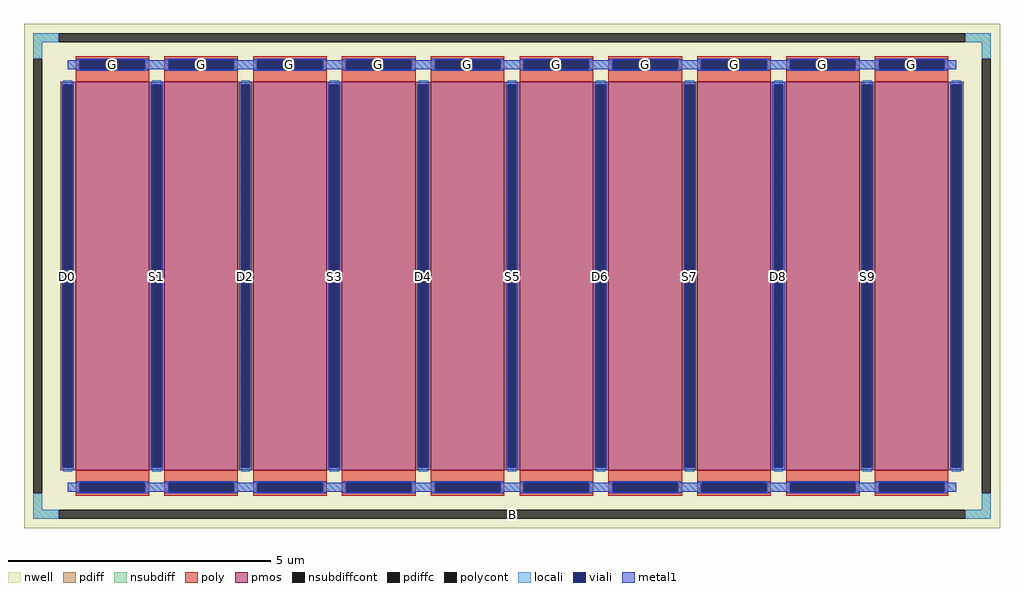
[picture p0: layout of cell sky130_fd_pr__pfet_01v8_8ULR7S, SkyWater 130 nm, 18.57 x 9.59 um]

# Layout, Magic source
magic
tech sky130A
magscale 1 2
<< nwell >>
rect -1857 -959 1857 959
<< pmos >>
rect -1661 -740 -1381 740
rect -1323 -740 -1043 740
rect -985 -740 -705 740
rect -647 -740 -367 740
rect -309 -740 -29 740
rect 29 -740 309 740
rect 367 -740 647 740
rect 705 -740 985 740
rect 1043 -740 1323 740
rect 1381 -740 1661 740
<< pdiff >>
rect -1719 728 -1661 740
rect -1719 -728 -1707 728
rect -1673 -728 -1661 728
rect -1719 -740 -1661 -728
rect -1381 728 -1323 740
rect -1381 -728 -1369 728
rect -1335 -728 -1323 728
rect -1381 -740 -1323 -728
rect -1043 728 -985 740
rect -1043 -728 -1031 728
rect -997 -728 -985 728
rect -1043 -740 -985 -728
rect -705 728 -647 740
rect -705 -728 -693 728
rect -659 -728 -647 728
rect -705 -740 -647 -728
rect -367 728 -309 740
rect -367 -728 -355 728
rect -321 -728 -309 728
rect -367 -740 -309 -728
rect -29 728 29 740
rect -29 -728 -17 728
rect 17 -728 29 728
rect -29 -740 29 -728
rect 309 728 367 740
rect 309 -728 321 728
rect 355 -728 367 728
rect 309 -740 367 -728
rect 647 728 705 740
rect 647 -728 659 728
rect 693 -728 705 728
rect 647 -740 705 -728
rect 985 728 1043 740
rect 985 -728 997 728
rect 1031 -728 1043 728
rect 985 -740 1043 -728
rect 1323 728 1381 740
rect 1323 -728 1335 728
rect 1369 -728 1381 728
rect 1323 -740 1381 -728
rect 1661 728 1719 740
rect 1661 -728 1673 728
rect 1707 -728 1719 728
rect 1661 -740 1719 -728
<< pdiffc >>
rect -1707 -728 -1673 728
rect -1369 -728 -1335 728
rect -1031 -728 -997 728
rect -693 -728 -659 728
rect -355 -728 -321 728
rect -17 -728 17 728
rect 321 -728 355 728
rect 659 -728 693 728
rect 997 -728 1031 728
rect 1335 -728 1369 728
rect 1673 -728 1707 728
<< nsubdiff >>
rect -1821 889 -1725 923
rect 1725 889 1821 923
rect -1821 827 -1787 889
rect 1787 827 1821 889
rect -1821 -889 -1787 -827
rect 1787 -889 1821 -827
rect -1821 -923 -1725 -889
rect 1725 -923 1821 -889
<< nsubdiffcont >>
rect -1725 889 1725 923
rect -1821 -827 -1787 827
rect 1787 -827 1821 827
rect -1725 -923 1725 -889
<< poly >>
rect -1661 821 -1381 837
rect -1661 787 -1645 821
rect -1397 787 -1381 821
rect -1661 740 -1381 787
rect -1323 821 -1043 837
rect -1323 787 -1307 821
rect -1059 787 -1043 821
rect -1323 740 -1043 787
rect -985 821 -705 837
rect -985 787 -969 821
rect -721 787 -705 821
rect -985 740 -705 787
rect -647 821 -367 837
rect -647 787 -631 821
rect -383 787 -367 821
rect -647 740 -367 787
rect -309 821 -29 837
rect -309 787 -293 821
rect -45 787 -29 821
rect -309 740 -29 787
rect 29 821 309 837
rect 29 787 45 821
rect 293 787 309 821
rect 29 740 309 787
rect 367 821 647 837
rect 367 787 383 821
rect 631 787 647 821
rect 367 740 647 787
rect 705 821 985 837
rect 705 787 721 821
rect 969 787 985 821
rect 705 740 985 787
rect 1043 821 1323 837
rect 1043 787 1059 821
rect 1307 787 1323 821
rect 1043 740 1323 787
rect 1381 821 1661 837
rect 1381 787 1397 821
rect 1645 787 1661 821
rect 1381 740 1661 787
rect -1661 -787 -1381 -740
rect -1661 -821 -1645 -787
rect -1397 -821 -1381 -787
rect -1661 -837 -1381 -821
rect -1323 -787 -1043 -740
rect -1323 -821 -1307 -787
rect -1059 -821 -1043 -787
rect -1323 -837 -1043 -821
rect -985 -787 -705 -740
rect -985 -821 -969 -787
rect -721 -821 -705 -787
rect -985 -837 -705 -821
rect -647 -787 -367 -740
rect -647 -821 -631 -787
rect -383 -821 -367 -787
rect -647 -837 -367 -821
rect -309 -787 -29 -740
rect -309 -821 -293 -787
rect -45 -821 -29 -787
rect -309 -837 -29 -821
rect 29 -787 309 -740
rect 29 -821 45 -787
rect 293 -821 309 -787
rect 29 -837 309 -821
rect 367 -787 647 -740
rect 367 -821 383 -787
rect 631 -821 647 -787
rect 367 -837 647 -821
rect 705 -787 985 -740
rect 705 -821 721 -787
rect 969 -821 985 -787
rect 705 -837 985 -821
rect 1043 -787 1323 -740
rect 1043 -821 1059 -787
rect 1307 -821 1323 -787
rect 1043 -837 1323 -821
rect 1381 -787 1661 -740
rect 1381 -821 1397 -787
rect 1645 -821 1661 -787
rect 1381 -837 1661 -821
<< polycont >>
rect -1645 787 -1397 821
rect -1307 787 -1059 821
rect -969 787 -721 821
rect -631 787 -383 821
rect -293 787 -45 821
rect 45 787 293 821
rect 383 787 631 821
rect 721 787 969 821
rect 1059 787 1307 821
rect 1397 787 1645 821
rect -1645 -821 -1397 -787
rect -1307 -821 -1059 -787
rect -969 -821 -721 -787
rect -631 -821 -383 -787
rect -293 -821 -45 -787
rect 45 -821 293 -787
rect 383 -821 631 -787
rect 721 -821 969 -787
rect 1059 -821 1307 -787
rect 1397 -821 1645 -787
<< locali >>
rect -1821 889 -1725 923
rect 1725 889 1821 923
rect -1821 827 -1787 889
rect 1787 827 1821 889
rect -1690 787 -1645 821
rect -1397 787 -1307 821
rect -1059 787 -969 821
rect -721 787 -631 821
rect -383 787 -293 821
rect -45 787 45 821
rect 293 787 383 821
rect 631 787 721 821
rect 969 787 1059 821
rect 1307 787 1397 821
rect 1645 787 1690 821
rect -1707 728 -1673 744
rect -1707 -744 -1673 -728
rect -1369 728 -1335 744
rect -1369 -744 -1335 -728
rect -1031 728 -997 744
rect -1031 -744 -997 -728
rect -693 728 -659 744
rect -693 -744 -659 -728
rect -355 728 -321 744
rect -355 -744 -321 -728
rect -17 728 17 744
rect -17 -744 17 -728
rect 321 728 355 744
rect 321 -744 355 -728
rect 659 728 693 744
rect 659 -744 693 -728
rect 997 728 1031 744
rect 997 -744 1031 -728
rect 1335 728 1369 744
rect 1335 -744 1369 -728
rect 1673 728 1707 744
rect 1673 -744 1707 -728
rect -1690 -821 -1645 -787
rect -1397 -821 -1307 -787
rect -1059 -821 -969 -787
rect -721 -821 -631 -787
rect -383 -821 -293 -787
rect -45 -821 45 -787
rect 293 -821 383 -787
rect 631 -821 721 -787
rect 969 -821 1059 -787
rect 1307 -821 1397 -787
rect 1645 -821 1690 -787
rect -1821 -889 -1787 -827
rect 1787 -889 1821 -827
rect -1821 -923 -1725 -889
rect 1725 -923 1821 -889
<< viali >>
rect -1645 787 -1397 821
rect -1307 787 -1059 821
rect -969 787 -721 821
rect -631 787 -383 821
rect -293 787 -45 821
rect 45 787 293 821
rect 383 787 631 821
rect 721 787 969 821
rect 1059 787 1307 821
rect 1397 787 1645 821
rect -1707 -728 -1673 728
rect -1369 -728 -1335 728
rect -1031 -728 -997 728
rect -693 -728 -659 728
rect -355 -728 -321 728
rect -17 -728 17 728
rect 321 -728 355 728
rect 659 -728 693 728
rect 997 -728 1031 728
rect 1335 -728 1369 728
rect 1673 -728 1707 728
rect -1645 -821 -1397 -787
rect -1307 -821 -1059 -787
rect -969 -821 -721 -787
rect -631 -821 -383 -787
rect -293 -821 -45 -787
rect 45 -821 293 -787
rect 383 -821 631 -787
rect 721 -821 969 -787
rect 1059 -821 1307 -787
rect 1397 -821 1645 -787
<< metal1 >>
rect -1657 821 -1385 827
rect -1319 821 -1047 827
rect -981 821 -709 827
rect -643 821 -371 827
rect -305 821 -33 827
rect 33 821 305 827
rect 371 821 643 827
rect 709 821 981 827
rect 1047 821 1319 827
rect 1385 821 1657 827
rect -1690 787 -1645 821
rect -1397 787 -1307 821
rect -1059 787 -969 821
rect -721 787 -631 821
rect -383 787 -293 821
rect -45 787 45 821
rect 293 787 383 821
rect 631 787 721 821
rect 969 787 1059 821
rect 1307 787 1397 821
rect 1645 787 1690 821
rect -1657 781 -1385 787
rect -1319 781 -1047 787
rect -981 781 -709 787
rect -643 781 -371 787
rect -305 781 -33 787
rect 33 781 305 787
rect 371 781 643 787
rect 709 781 981 787
rect 1047 781 1319 787
rect 1385 781 1657 787
rect -1713 728 -1667 740
rect -1713 -728 -1707 728
rect -1673 -728 -1667 728
rect -1713 -740 -1667 -728
rect -1375 728 -1329 740
rect -1375 -728 -1369 728
rect -1335 -728 -1329 728
rect -1375 -740 -1329 -728
rect -1037 728 -991 740
rect -1037 -728 -1031 728
rect -997 -728 -991 728
rect -1037 -740 -991 -728
rect -699 728 -653 740
rect -699 -728 -693 728
rect -659 -728 -653 728
rect -699 -740 -653 -728
rect -361 728 -315 740
rect -361 -728 -355 728
rect -321 -728 -315 728
rect -361 -740 -315 -728
rect -23 728 23 740
rect -23 -728 -17 728
rect 17 -728 23 728
rect -23 -740 23 -728
rect 315 728 361 740
rect 315 -728 321 728
rect 355 -728 361 728
rect 315 -740 361 -728
rect 653 728 699 740
rect 653 -728 659 728
rect 693 -728 699 728
rect 653 -740 699 -728
rect 991 728 1037 740
rect 991 -728 997 728
rect 1031 -728 1037 728
rect 991 -740 1037 -728
rect 1329 728 1375 740
rect 1329 -728 1335 728
rect 1369 -728 1375 728
rect 1329 -740 1375 -728
rect 1667 728 1713 740
rect 1667 -728 1673 728
rect 1707 -728 1713 728
rect 1667 -740 1713 -728
rect -1657 -787 -1385 -781
rect -1319 -787 -1047 -781
rect -981 -787 -709 -781
rect -643 -787 -371 -781
rect -305 -787 -33 -781
rect 33 -787 305 -781
rect 371 -787 643 -781
rect 709 -787 981 -781
rect 1047 -787 1319 -781
rect 1385 -787 1657 -781
rect -1690 -821 -1645 -787
rect -1397 -821 -1307 -787
rect -1059 -821 -969 -787
rect -721 -821 -631 -787
rect -383 -821 -293 -787
rect -45 -821 45 -787
rect 293 -821 383 -787
rect 631 -821 721 -787
rect 969 -821 1059 -787
rect 1307 -821 1397 -787
rect 1645 -821 1690 -787
rect -1657 -827 -1385 -821
rect -1319 -827 -1047 -821
rect -981 -827 -709 -821
rect -643 -827 -371 -821
rect -305 -827 -33 -821
rect 33 -827 305 -821
rect 371 -827 643 -821
rect 709 -827 981 -821
rect 1047 -827 1319 -821
rect 1385 -827 1657 -821
<< labels >>
rlabel nsubdiffcont 0 -906 0 -906 0 B
port 1 nsew
rlabel pdiffc -1690 0 -1690 0 0 D0
port 2 nsew
rlabel polycont -1521 804 -1521 804 0 G
port 3 nsew
rlabel pdiffc -1352 0 -1352 0 0 S1
port 4 nsew
rlabel polycont -1183 804 -1183 804 0 G
port 3 nsew
rlabel pdiffc -1014 0 -1014 0 0 D2
port 5 nsew
rlabel polycont -845 804 -845 804 0 G
port 3 nsew
rlabel pdiffc -676 0 -676 0 0 S3
port 6 nsew
rlabel polycont -507 804 -507 804 0 G
port 3 nsew
rlabel pdiffc -338 0 -338 0 0 D4
port 7 nsew
rlabel polycont -169 804 -169 804 0 G
port 3 nsew
rlabel pdiffc 0 0 0 0 0 S5
port 8 nsew
rlabel polycont 169 804 169 804 0 G
port 3 nsew
rlabel pdiffc 338 0 338 0 0 D6
port 9 nsew
rlabel polycont 507 804 507 804 0 G
port 3 nsew
rlabel pdiffc 676 0 676 0 0 S7
port 10 nsew
rlabel polycont 845 804 845 804 0 G
port 3 nsew
rlabel pdiffc 1014 0 1014 0 0 D8
port 11 nsew
rlabel polycont 1183 804 1183 804 0 G
port 3 nsew
rlabel pdiffc 1352 0 1352 0 0 S9
port 12 nsew
rlabel polycont 1521 804 1521 804 0 G
port 3 nsew
<< properties >>
string FIXED_BBOX -1804 -906 1804 906
string gencell sky130_fd_pr__pfet_01v8
string library sky130
string parameters w 7.4 l 1.4 m 1 nf 10 diffcov 100 polycov 100 guard 1 glc 1 grc 1 gtc 1 gbc 1 tbcov 100 rlcov 100 topc 1 botc 1 poverlap 0 doverlap 1 lmin 0.15 wmin 0.42 class mosfet compatible {sky130_fd_pr__pfet_01v8  sky130_fd_pr__pfet_01v8_lvt sky130_fd_pr__pfet_01v8_hvt  sky130_fd_pr__pfet_g5v0d10v5} full_metal 1 conn_gates 1 viasrc 100 viadrn 100 viagate 100 viagb 0 viagr 0 viagl 0 viagt 0 doports 1
<< end >>
